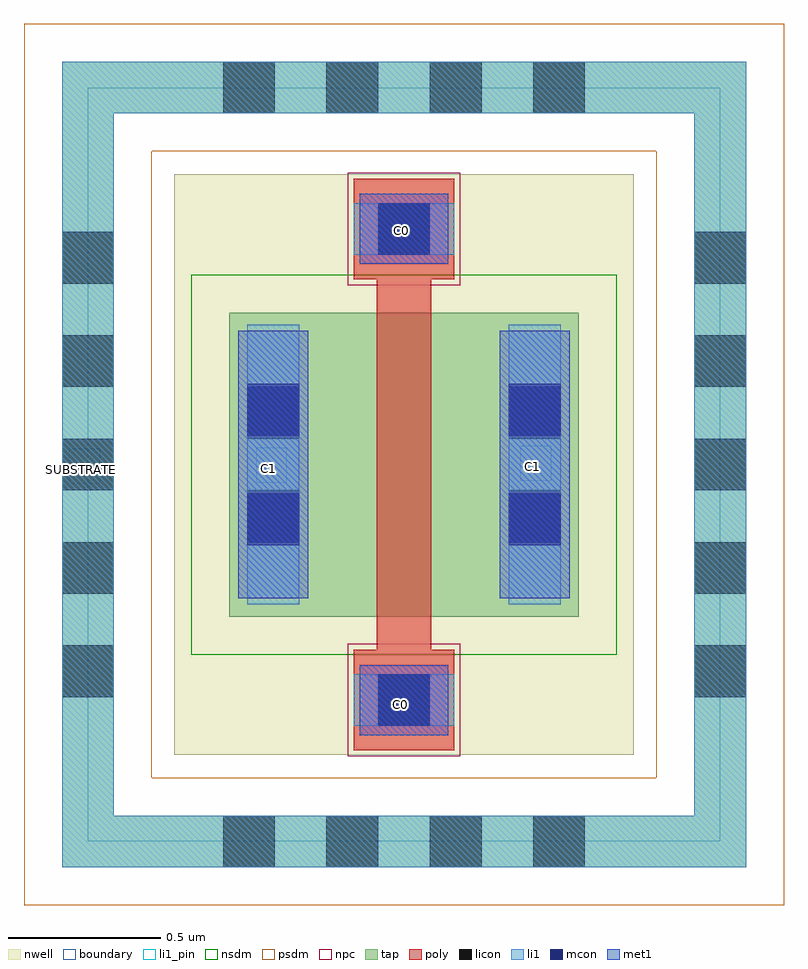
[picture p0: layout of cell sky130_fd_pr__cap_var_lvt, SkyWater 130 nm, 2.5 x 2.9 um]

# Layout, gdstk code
import gdstk
lib = gdstk.Library(unit=1e-6, precision=1e-09)
def R(c, l, rs):  # rectangles x0, y0, x1, y1
    for r in rs: c.add(gdstk.rectangle(r[:2], r[2:], *l))
def A(c, l, x, y, w, h, nx, ny, dx, dy):  # array of equal rectangles
    R(c, l, [(x+i*dx, y+j*dy, x+i*dx+w, y+j*dy+h) for i in range(nx) for j in range(ny)])
nwell = (64, 20)
tap = (65, 44)
poly = (66, 20)
licon = (66, 44)
li1_pin = (67, 16)
li1 = (67, 20)
mcon = (67, 44)
met1 = (68, 20)
nsdm = (93, 44)
psdm = (94, 20)
npc = (95, 20)
boundary = (235, 4)

sky130_fd_pr__cap_var_lv = lib.new_cell('sky130_fd_pr__cap_var_lvt')
R(sky130_fd_pr__cap_var_lv, nwell, [(-2.575,-2.58,-1.065,-0.67)])
R(sky130_fd_pr__cap_var_lv, tap, [(-2.945,-2.95,-0.695,-2.78), (-2.945,-2.78,-2.775,-0.47), (-0.865,-2.78,-0.695,-0.47), (-2.395,-2.125,-1.245,-1.125), (-2.945,-0.47,-0.695,-0.3)])
R(sky130_fd_pr__cap_var_lv, poly, [(-1.985,-2.565,-1.655,-2.235), (-1.91,-2.235,-1.73,-1.015), (-1.985,-1.015,-1.655,-0.685)])
A(sky130_fd_pr__cap_var_lv, licon, -2.415, -2.95, 0.17, 0.17, 4, 2, 0.34, 2.48)
A(sky130_fd_pr__cap_var_lv, licon, -2.945, -2.39, 0.17, 0.17, 1, 5, 0, 0.34)
A(sky130_fd_pr__cap_var_lv, licon, -0.865, -2.39, 0.17, 0.17, 1, 5, 0, 0.34)
R(sky130_fd_pr__cap_var_lv, licon, [(-1.905,-2.485,-1.735,-2.315), (-2.335,-1.88,-2.165,-1.71), (-1.475,-1.88,-1.305,-1.71), (-2.335,-1.54,-2.165,-1.37), (-1.475,-1.54,-1.305,-1.37), (-1.905,-0.935,-1.735,-0.765)])
R(sky130_fd_pr__cap_var_lv, li1_pin, [(-1.873,-2.461,-1.772,-2.346), (-2.921,-1.689,-2.82,-1.574), (-2.306,-1.685,-2.205,-1.57), (-1.437,-1.678,-1.336,-1.563), (-1.868,-0.901,-1.767,-0.786)])
R(sky130_fd_pr__cap_var_lv, li1, [(-2.945,-2.95,-0.695,-2.78), (-2.945,-2.78,-2.775,-0.47), (-0.865,-2.78,-0.695,-0.47), (-1.985,-2.485,-1.655,-2.315), (-2.335,-2.085,-2.165,-1.165), (-1.475,-2.085,-1.305,-1.165), (-1.985,-0.935,-1.655,-0.765), (-2.945,-0.47,-0.695,-0.3)])
R(sky130_fd_pr__cap_var_lv, mcon, [(-1.905,-2.485,-1.735,-2.315), (-2.335,-1.89,-2.165,-1.72), (-1.475,-1.89,-1.305,-1.72), (-2.335,-1.53,-2.165,-1.36), (-1.475,-1.53,-1.305,-1.36), (-1.905,-0.935,-1.735,-0.765)])
R(sky130_fd_pr__cap_var_lv, met1, [(-1.965,-2.515,-1.675,-2.285), (-2.365,-2.065,-2.135,-1.185), (-1.505,-2.065,-1.275,-1.185), (-1.965,-0.965,-1.675,-0.735)])
R(sky130_fd_pr__cap_var_lv, nsdm, [(-2.52,-2.25,-1.12,-1)])
R(sky130_fd_pr__cap_var_lv, psdm, [(-3.07,-3.075,-0.57,-2.655), (-3.07,-2.655,-2.65,-0.595), (-0.99,-2.655,-0.57,-0.595), (-3.07,-0.595,-0.57,-0.175)])
R(sky130_fd_pr__cap_var_lv, npc, [(-2.005,-2.585,-1.635,-2.215), (-2.005,-1.035,-1.635,-0.665)])
R(sky130_fd_pr__cap_var_lv, boundary, [(-2.86,-2.865,-0.78,-0.385)])
sky130_fd_pr__cap_var_lv.add(gdstk.Label('C0', (-1.827,-0.855), layer=67, texttype=5))
sky130_fd_pr__cap_var_lv.add(gdstk.Label('SUBSTRATE', (-2.88,-1.643), layer=67, texttype=5))
sky130_fd_pr__cap_var_lv.add(gdstk.Label('C1', (-2.265,-1.639), layer=67, texttype=5))
sky130_fd_pr__cap_var_lv.add(gdstk.Label('C0', (-1.832,-2.415), layer=67, texttype=5))
sky130_fd_pr__cap_var_lv.add(gdstk.Label('C1', (-1.396,-1.632), layer=67, texttype=5))

lib.write_gds('sky130_fd_pr__cap_var_lvt.gds')
